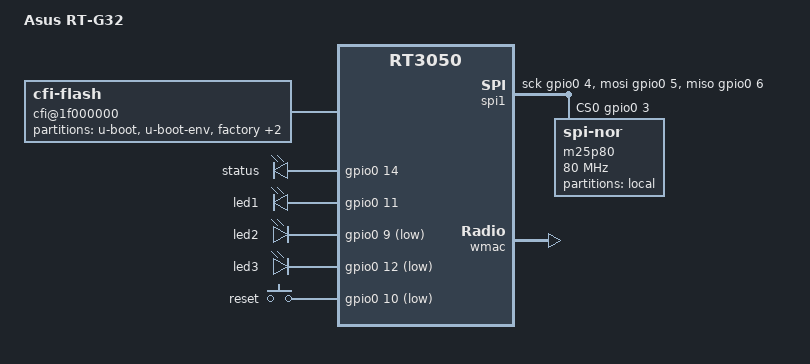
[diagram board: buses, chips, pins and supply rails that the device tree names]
/dts-v1/;

#include <dt-bindings/gpio/tegra-gpio.h>
#include "rt3050.dtsi"

/ {
	compatible = "RT-G32", "ralink,rt3050-soc";
	model = "Asus RT-G32";

	cfi@1f000000 {
		compatible = "cfi-flash";
		reg = <0x1f000000 0x800000>;
		bank-width = <2>;
		device-width = <2>;
		#address-cells = <1>;
		#size-cells = <1>;

		partition@0 {
			label = "u-boot";
			reg = <0x0 0x30000>;
			read-only;
		};

		partition@30000 {
			label = "u-boot-env";
			reg = <0x30000 0x10000>;
			read-only;
		};

		factory: partition@40000 {
			label = "factory";
			reg = <0x40000 0x10000>;
			read-only;
		};

		partition@50000 {
			label = "kernel";
			reg = <0x50000 0x100000>;
		};

		partition@160000 {
			label = "rootfs";
			reg = <0x150000 0x2b0000>;
		};
	};

	gpio-leds {
		compatible = "gpio-leds";

		status {
			label = "status";
			gpios = <&gpio0 14 0>;
		};

		led1 {
			label = "led1";
			gpios = <&gpio0 11 0>;
		};

		led2 {
			label = "led2";
			gpios = <&gpio0 9 1>;
		};

		led3 {
			label = "led3";
			gpios = <&gpio0 12 1>;
		};

	};
	gpio-keys-polled {
		compatible = "gpio-keys-polled";
		#address-cells = <1>;
		#size-cells = <0>;
		poll-interval = <20>;

		reset {
			label = "reset";
			gpios = <&gpio0 10 1>;
			linux,code = <0x198>;
		};

	};

	/* This module have spi patern back side */
	spi1: spi@gpio0 {
		compatible = "spi-gpio";
		pinctrl-names = "default";
//		pinctrl-0 = <&spi2_pins_cfa10049>;
		status = "okay";
		gpio-sck = <&gpio0 4 0>;
		gpio-mosi = <&gpio0 5 0>;
		gpio-miso = <&gpio0 6 0>;
		cs-gpios = <&gpio0 3 0>;
		num-chipselects = <1>;
		#address-cells = <1>;
		#size-cells = <0>;

		m25p80@0 {
			#address-cells = <1>;
			#size-cells = <1>;
			compatible = "jedec,spi-nor";
			reg = <0>;
			linux,modalias = "m25p80", "mx25l3205d";
			spi-max-frequency = <80000000>;

			partition@0 {
				label = "local";
				reg = <0x0 0x800000>;
				read-only;
			};
		};
	};
};

&pinctrl {
	state_default: pinctrl0 {
		gpio {
			ralink,group = "i2c", "spi", "jtag", "uartf", "rgmii", "mdio";
			ralink,function = "gpio";
		};

	};
};

&ethernet {
//	mtd-mac-address = <&factory 0x28>;
};

&esw {
	mediatek,portmap = <0x2f>;
};

&wmac {
//	ralink,mtd-eeprom = <&factory 0>;
};
/*
&otg {
	status = "okay";
};
*/

